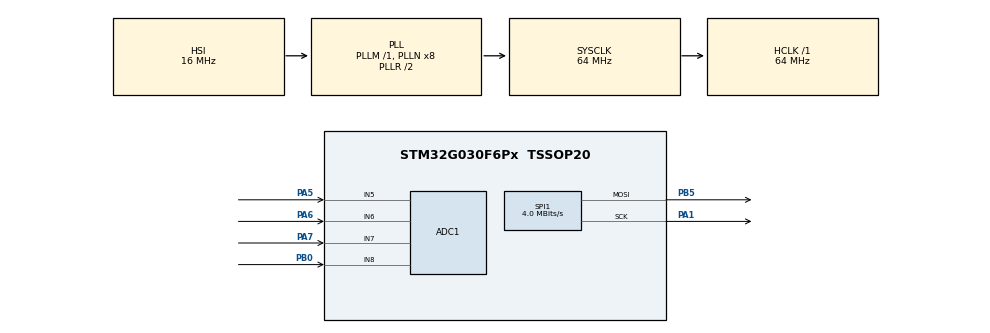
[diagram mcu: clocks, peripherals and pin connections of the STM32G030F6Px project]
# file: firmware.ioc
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ADC1.Channel-0\#ChannelRegularConversion=ADC_CHANNEL_6
ADC1.ExternalTrigConv=ADC_EXTERNALTRIG_T3_TRGO
ADC1.NbrOfConversionFlag=1
ADC1.Rank-0\#ChannelRegularConversion=1
ADC1.SamplingTime-0\#ChannelRegularConversion=ADC_SAMPLINGTIME_COMMON_1
ADC1.SamplingTimeCommon1=ADC_SAMPLETIME_7CYCLES_5
ADC1.SamplingTimeCommon2=ADC_SAMPLETIME_7CYCLES_5
ADC1.SelectedChannel=ADC_CHANNEL_5|ADC_CHANNEL_6|ADC_CHANNEL_7|ADC_CHANNEL_8
ADC1.master=1
Mcu.Family=STM32G0
Mcu.Name=STM32G030F6Px
Mcu.Package=TSSOP20
NVIC.TIM3_IRQn=true\:0\:0\:false\:false\:true\:true\:true\:true
PA1.Mode=TX_Only_Simplex_Unidirect_Master
PA1.Signal=SPI1_SCK
PA13.Mode=Serial_Wire
PA13.Signal=SYS_SWDIO
PA14-BOOT0.Mode=Serial_Wire
PA14-BOOT0.Signal=SYS_SWCLK
PA14-BOOT0__PA15.StandardMode=true
PA5.Mode=IN5
PA5.Signal=ADC1_IN5
PA6.Mode=IN6
PA6.Signal=ADC1_IN6
PA7.Mode=IN7
PA7.Signal=ADC1_IN7
PB0.Mode=IN8
PB0.Signal=ADC1_IN8
PB0__PB1__PB2__PA8.StandardMode=true
PB3__PB4__PB5__PB6.StandardMode=true
PB5.GPIO_Speed=GPIO_SPEED_FREQ_HIGH
PB5.Mode=TX_Only_Simplex_Unidirect_Master
PB5.Signal=SPI1_MOSI
PB7__PB8.StandardMode=true
PC14-OSC32_IN\ (PC14)__PB9.StandardMode=true
ProjectManager.HeapSize=0x200
ProjectManager.StackSize=0x400
ProjectManager.TargetToolchain=Makefile
RCC.ADCFreq_Value=64000000
RCC.AHBFreq_Value=64000000
RCC.CortexFreq_Value=64000000
RCC.EXTERNAL_CLOCK_VALUE=12288000
RCC.HCLKFreq_Value=64000000
RCC.HSE_VALUE=8000000
RCC.HSI_VALUE=16000000
RCC.LSE_VALUE=32768
RCC.SYSCLKFreq_VALUE=64000000
RCC.SYSCLKSource=RCC_SYSCLKSOURCE_PLLCLK
RCC.VCOOutputFreq_Value=128000000
SPI1.BaudRatePrescaler=SPI_BAUDRATEPRESCALER_16
SPI1.CalculateBaudRate=4.0 MBits/s
SPI1.Direction=SPI_DIRECTION_2LINES
SPI1.Mode=SPI_MODE_MASTER
SPI1.VirtualType=VM_MASTER
TIM3.AutoReloadPreload=TIM_AUTORELOAD_PRELOAD_ENABLE
TIM3.Period=16000
VP_TIM3_VS_ClockSourceINT.Mode=Internal
board=custom

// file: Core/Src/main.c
/* USER CODE BEGIN Header */
/**
  ******************************************************************************
  * @file           : main.c
  * @brief          : Main program body
  ******************************************************************************
  * @attention
  *
  * Copyright (c) 2022 STMicroelectronics.
  * All rights reserved.
  *
  * This software is licensed under terms that can be found in the LICENSE file
  * in the root directory of this software component.
  * If no LICENSE file comes with this software, it is provided AS-IS.
  *
  ******************************************************************************
  */
/* USER CODE END Header */
#include "main.h"

ADC_HandleTypeDef hadc1;

SPI_HandleTypeDef hspi1;

TIM_HandleTypeDef htim3;

void SystemClock_Config(void);
static void MX_GPIO_Init(void);
static void MX_ADC1_Init(void);
static void MX_TIM3_Init(void);
static void MX_SPI1_Init(void);
/* USER CODE BEGIN PFP */
#define WS2812_NUM_LEDS 3
#define WS2812_SPI_HANDLE hspi1

#define WS2812_RESET_PULSE 60
#define WS2812_BUFFER_SIZE (WS2812_NUM_LEDS * 24 + WS2812_RESET_PULSE)

uint8_t ws2812_buffer[WS2812_BUFFER_SIZE];

void ws2812_init(void);
void ws2812_send_spi(void);
void ws2812_pixel(uint16_t led_no, uint8_t r, uint8_t g, uint8_t b);
void ws2812_pixel_all(uint8_t r, uint8_t g, uint8_t b);
/* USER CODE END PFP */

int main(void)
{

  /* MCU Configuration--------------------------------------------------------*/

  /* Reset of all peripherals, Initializes the Flash interface and the Systick. */
  HAL_Init();

  /* Configure the system clock */
  SystemClock_Config();

  /* Initialize all configured peripherals */
  MX_GPIO_Init();
  MX_ADC1_Init();
  MX_TIM3_Init();
  MX_SPI1_Init();
  /* USER CODE BEGIN 2 */
  ws2812_init();

  /* USER CODE END 2 */

  /* Infinite loop */
  /* USER CODE BEGIN WHILE */
  while (1)
  {
    for(int i = 0; i <= 255; i++){
      ws2812_pixel(0,i,0,0);
      ws2812_pixel(1,0,i,0);
      ws2812_pixel(2,0,0,i);
      ws2812_send_spi();
      HAL_Delay(50);
    }
    /* USER CODE END WHILE */

  }
}

void SystemClock_Config(void)
{
  RCC_OscInitTypeDef RCC_OscInitStruct = {0};
  RCC_ClkInitTypeDef RCC_ClkInitStruct = {0};

  /** Configure the main internal regulator output voltage
  */
  HAL_PWREx_ControlVoltageScaling(PWR_REGULATOR_VOLTAGE_SCALE1);

  /** Initializes the RCC Oscillators according to the specified parameters
  * in the RCC_OscInitTypeDef structure.
  */
  RCC_OscInitStruct.OscillatorType = RCC_OSCILLATORTYPE_HSI;
  RCC_OscInitStruct.HSIState = RCC_HSI_ON;
  RCC_OscInitStruct.HSIDiv = RCC_HSI_DIV1;
  RCC_OscInitStruct.HSICalibrationValue = RCC_HSICALIBRATION_DEFAULT;
  RCC_OscInitStruct.PLL.PLLState = RCC_PLL_ON;
  RCC_OscInitStruct.PLL.PLLSource = RCC_PLLSOURCE_HSI;
  RCC_OscInitStruct.PLL.PLLM = RCC_PLLM_DIV1;
  RCC_OscInitStruct.PLL.PLLN = 8;
  RCC_OscInitStruct.PLL.PLLP = RCC_PLLP_DIV2;
  RCC_OscInitStruct.PLL.PLLR = RCC_PLLR_DIV2;
  if (HAL_RCC_OscConfig(&RCC_OscInitStruct) != HAL_OK)
  {
    Error_Handler();
  }

  /** Initializes the CPU, AHB and APB buses clocks
  */
  RCC_ClkInitStruct.ClockType = RCC_CLOCKTYPE_HCLK|RCC_CLOCKTYPE_SYSCLK
                              |RCC_CLOCKTYPE_PCLK1;
  RCC_ClkInitStruct.SYSCLKSource = RCC_SYSCLKSOURCE_PLLCLK;
  RCC_ClkInitStruct.AHBCLKDivider = RCC_SYSCLK_DIV1;
  RCC_ClkInitStruct.APB1CLKDivider = RCC_HCLK_DIV1;

  if (HAL_RCC_ClockConfig(&RCC_ClkInitStruct, FLASH_LATENCY_2) != HAL_OK)
  {
    Error_Handler();
  }
}

static void MX_ADC1_Init(void)
{

  ADC_ChannelConfTypeDef sConfig = {0};

  /** Configure the global features of the ADC (Clock, Resolution, Data Alignment and number of conversion)
  */
  hadc1.Instance = ADC1;
  hadc1.Init.ClockPrescaler = ADC_CLOCK_SYNC_PCLK_DIV2;
  hadc1.Init.Resolution = ADC_RESOLUTION_12B;
  hadc1.Init.DataAlign = ADC_DATAALIGN_RIGHT;
  hadc1.Init.ScanConvMode = ADC_SCAN_DISABLE;
  hadc1.Init.EOCSelection = ADC_EOC_SINGLE_CONV;
  hadc1.Init.LowPowerAutoWait = DISABLE;
  hadc1.Init.LowPowerAutoPowerOff = DISABLE;
  hadc1.Init.ContinuousConvMode = DISABLE;
  hadc1.Init.NbrOfConversion = 1;
  hadc1.Init.DiscontinuousConvMode = DISABLE;
  hadc1.Init.ExternalTrigConv = ADC_EXTERNALTRIG_T3_TRGO;
  hadc1.Init.ExternalTrigConvEdge = ADC_EXTERNALTRIGCONVEDGE_RISING;
  hadc1.Init.DMAContinuousRequests = DISABLE;
  hadc1.Init.Overrun = ADC_OVR_DATA_PRESERVED;
  hadc1.Init.SamplingTimeCommon1 = ADC_SAMPLETIME_7CYCLES_5;
  hadc1.Init.SamplingTimeCommon2 = ADC_SAMPLETIME_7CYCLES_5;
  hadc1.Init.OversamplingMode = DISABLE;
  hadc1.Init.TriggerFrequencyMode = ADC_TRIGGER_FREQ_HIGH;
  if (HAL_ADC_Init(&hadc1) != HAL_OK)
  {
    Error_Handler();
  }

  /** Configure Regular Channel
  */
  sConfig.Channel = ADC_CHANNEL_6;
  sConfig.Rank = ADC_REGULAR_RANK_1;
  sConfig.SamplingTime = ADC_SAMPLINGTIME_COMMON_1;
  if (HAL_ADC_ConfigChannel(&hadc1, &sConfig) != HAL_OK)
  {
    Error_Handler();
  }

}

static void MX_SPI1_Init(void)
{

  /* SPI1 parameter configuration*/
  hspi1.Instance = SPI1;
  hspi1.Init.Mode = SPI_MODE_MASTER;
  hspi1.Init.Direction = SPI_DIRECTION_2LINES;
  hspi1.Init.DataSize = SPI_DATASIZE_8BIT;
  hspi1.Init.CLKPolarity = SPI_POLARITY_LOW;
  hspi1.Init.CLKPhase = SPI_PHASE_1EDGE;
  hspi1.Init.NSS = SPI_NSS_SOFT;
  hspi1.Init.BaudRatePrescaler = SPI_BAUDRATEPRESCALER_8;
  hspi1.Init.FirstBit = SPI_FIRSTBIT_MSB;
  hspi1.Init.TIMode = SPI_TIMODE_DISABLE;
  hspi1.Init.CRCCalculation = SPI_CRCCALCULATION_DISABLE;
  hspi1.Init.CRCPolynomial = 7;
  hspi1.Init.CRCLength = SPI_CRC_LENGTH_DATASIZE;
  hspi1.Init.NSSPMode = SPI_NSS_PULSE_ENABLE;
  if (HAL_SPI_Init(&hspi1) != HAL_OK)
  {
    Error_Handler();
  }

}

static void MX_TIM3_Init(void)
{

  TIM_ClockConfigTypeDef sClockSourceConfig = {0};
  TIM_MasterConfigTypeDef sMasterConfig = {0};

  htim3.Instance = TIM3;
  htim3.Init.Prescaler = 0;
  htim3.Init.CounterMode = TIM_COUNTERMODE_UP;
  htim3.Init.Period = 16000;
  htim3.Init.ClockDivision = TIM_CLOCKDIVISION_DIV1;
  htim3.Init.AutoReloadPreload = TIM_AUTORELOAD_PRELOAD_ENABLE;
  if (HAL_TIM_Base_Init(&htim3) != HAL_OK)
  {
    Error_Handler();
  }
  sClockSourceConfig.ClockSource = TIM_CLOCKSOURCE_INTERNAL;
  if (HAL_TIM_ConfigClockSource(&htim3, &sClockSourceConfig) != HAL_OK)
  {
    Error_Handler();
  }
  sMasterConfig.MasterOutputTrigger = TIM_TRGO_RESET;
  sMasterConfig.MasterSlaveMode = TIM_MASTERSLAVEMODE_DISABLE;
  if (HAL_TIMEx_MasterConfigSynchronization(&htim3, &sMasterConfig) != HAL_OK)
  {
    Error_Handler();
  }

}

static void MX_GPIO_Init(void)
{

  /* GPIO Ports Clock Enable */
  __HAL_RCC_GPIOA_CLK_ENABLE();
  __HAL_RCC_GPIOB_CLK_ENABLE();

}

/* USER CODE BEGIN 4 */

void ws2812_init(void) {
    memset(ws2812_buffer, 0, WS2812_BUFFER_SIZE);
    ws2812_send_spi();
}

void ws2812_send_spi(void) {
    HAL_SPI_Transmit(&WS2812_SPI_HANDLE, ws2812_buffer, WS2812_BUFFER_SIZE, HAL_MAX_DELAY);
}

#define WS2812_FILL_BUFFER(COLOR) \
    for( uint8_t mask = 0x80; mask; mask >>= 1 ) { \
        if( COLOR & mask ) { \
            *ptr++ = 0xfc; \
        } else { \
            *ptr++ = 0x80; \
        } \
    }

void ws2812_pixel(uint16_t led_no, uint8_t r, uint8_t g, uint8_t b) {
    uint8_t * ptr = &ws2812_buffer[24 * led_no];
    WS2812_FILL_BUFFER(g);
    WS2812_FILL_BUFFER(r);
    WS2812_FILL_BUFFER(b);
}

void ws2812_pixel_all(uint8_t r, uint8_t g, uint8_t b) {
    uint8_t * ptr = ws2812_buffer;
    for( uint16_t i = 0; i < WS2812_NUM_LEDS; ++i) {
        WS2812_FILL_BUFFER(g);
        WS2812_FILL_BUFFER(r);
        WS2812_FILL_BUFFER(b);
    }
}

/* USER CODE END 4 */

void Error_Handler(void)
{
  __disable_irq();
  while (1)
  {
  }
}
